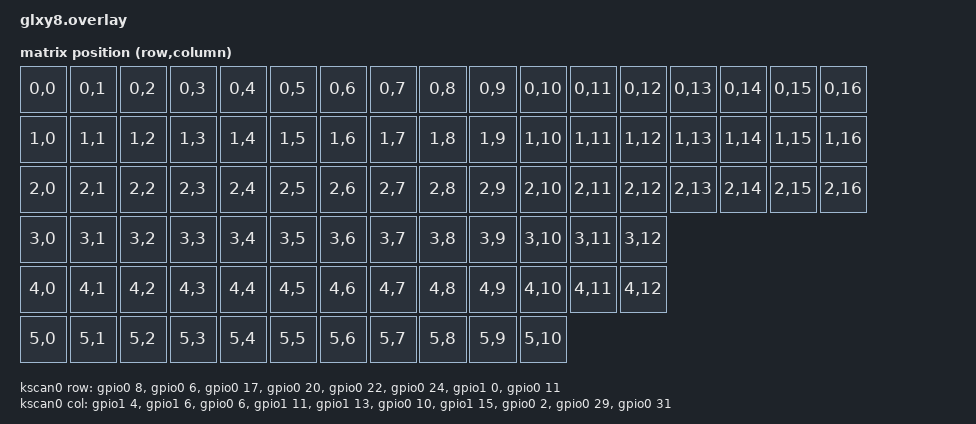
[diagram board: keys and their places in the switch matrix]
/dts-v1/;
/plugin/;

/ {
    compatible = "zephyr,kscan-gpio-matrix";

    kscan0: kscan@0 {
        compatible = "zephyr,kscan-gpio-matrix";
        label = "KSCAN";
        row-gpios = <&gpio0 8 GPIO_ACTIVE_LOW>,  /* D0 */
                    <&gpio0 6 GPIO_ACTIVE_LOW>,  /* D1 */
                    <&gpio0 17 GPIO_ACTIVE_LOW>, /* D2 */
                    <&gpio0 20 GPIO_ACTIVE_LOW>, /* D3 */
                    <&gpio0 22 GPIO_ACTIVE_LOW>, /* D4 */
                    <&gpio0 24 GPIO_ACTIVE_LOW>, /* D5 */
                    <&gpio1 0 GPIO_ACTIVE_LOW>,  /* D6 */
                    <&gpio0 11 GPIO_ACTIVE_LOW>; /* D7 */

        col-gpios = <&gpio1 4 GPIO_ACTIVE_LOW>,  /* D8 */
                    <&gpio1 6 GPIO_ACTIVE_LOW>,  /* D9 */
                    <&gpio0 6 GPIO_ACTIVE_LOW>,  /* D10 */
                    <&gpio1 11 GPIO_ACTIVE_LOW>, /* D14 */
                    <&gpio1 13 GPIO_ACTIVE_LOW>, /* D15 */
                    <&gpio0 10 GPIO_ACTIVE_LOW>, /* D16 */
                    <&gpio1 15 GPIO_ACTIVE_LOW>, /* D18 */
                    <&gpio0 2 GPIO_ACTIVE_LOW>,  /* D19 */
                    <&gpio0 29 GPIO_ACTIVE_LOW>, /* D20 */
                    <&gpio0 31 GPIO_ACTIVE_LOW>; /* D21 */

        debounce-press = <5>;
        debounce-release = <5>;

        default_transform: keymap_transform_0 {
            compatible = "zmk,matrix-transform";
            columns = <17>;    // 17 columns for the widest rows
            rows = <6>;        // 6 rows total
            map = <
                // Row 1 - 17 keys
                RC(0,0) RC(0,1) RC(0,2) RC(0,3) RC(0,4) RC(0,5) RC(0,6) RC(0,7) RC(0,8) RC(0,9) RC(0,10) RC(0,11) RC(0,12) RC(0,13) RC(0,14) RC(0,15) RC(0,16)
                // Row 2 - 17 keys
                RC(1,0) RC(1,1) RC(1,2) RC(1,3) RC(1,4) RC(1,5) RC(1,6) RC(1,7) RC(1,8) RC(1,9) RC(1,10) RC(1,11) RC(1,12) RC(1,13) RC(1,14) RC(1,15) RC(1,16)
                // Row 3 - 17 keys
                RC(2,0) RC(2,1) RC(2,2) RC(2,3) RC(2,4) RC(2,5) RC(2,6) RC(2,7) RC(2,8) RC(2,9) RC(2,10) RC(2,11) RC(2,12) RC(2,13) RC(2,14) RC(2,15) RC(2,16)
                // Row 4 - 13 keys
                RC(3,0) RC(3,1) RC(3,2) RC(3,3) RC(3,4) RC(3,5) RC(3,6) RC(3,7) RC(3,8) RC(3,9) RC(3,10) RC(3,11) RC(3,12)
                // Row 5 - 13 keys
                RC(4,0) RC(4,1) RC(4,2) RC(4,3) RC(4,4) RC(4,5) RC(4,6) RC(4,7) RC(4,8) RC(4,9) RC(4,10) RC(4,11) RC(4,12)
                // Row 6 - 11 keys
                RC(5,0) RC(5,1) RC(5,2) RC(5,3) RC(5,4) RC(5,5) RC(5,6) RC(5,7) RC(5,8) RC(5,9) RC(5,10)
            >;
        };
    };
};
